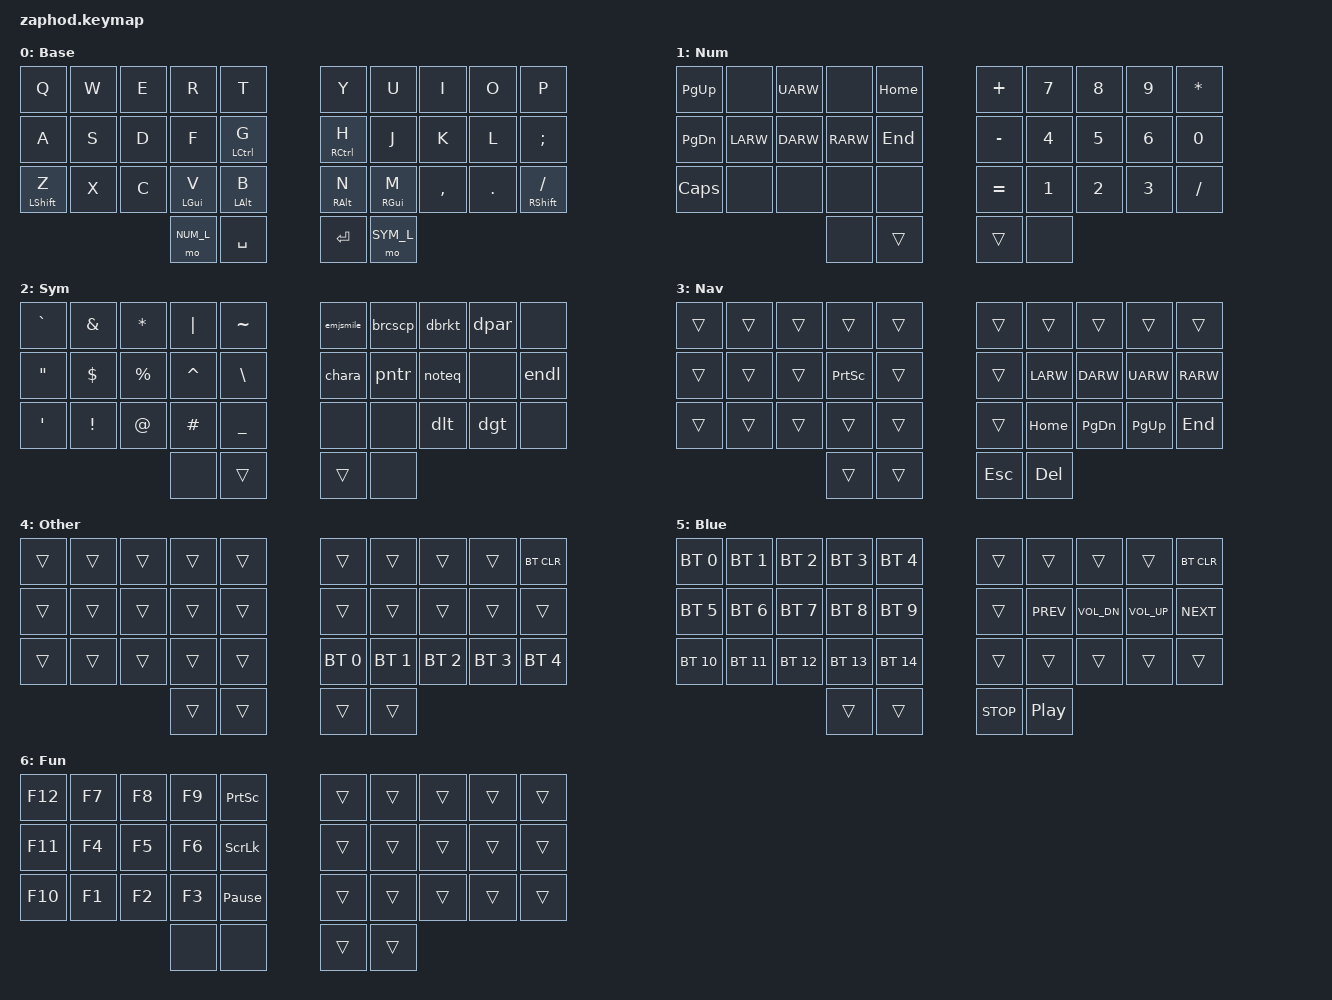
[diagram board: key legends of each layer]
/*
 * Copyright (c) 2021 Pete Johanson
 *
 * SPDX-License-Identifier: MIT
 */

#include <behaviors.dtsi>
#include <dt-bindings/zmk/keys.h>
#include <dt-bindings/zmk/bt.h>
#include <dt-bindings/zmk/outputs.h>

#define NUM_L 1
#define SYM_L 2
#define NAV_L 3
#define OTH_L 4
#define BLU_L 5
#define FUN_L 6

// Using layer taps on thumbs, having quick tap as well helps w/ repeating space/backspace
&lt { quick-tap-ms = <200>; };

/ {
    combos {
        compatible = "zmk,combos";

        med_mo {
            timeout-ms = <50>;
            key-positions = <32 33>;
            bindings = <&mo FUN_L>;
        };

        nav_mo {
            timeout-ms = <50>;
            key-positions = <30 31>;
            bindings = <&mo NAV_L>;
        };
        
        fn_mo {
            timeout-ms = <50>;
            key-positions = <30 33>;
            bindings = <&mo BLU_L>;
        };
        
        oth_mo {
            timeout-ms = <50>;
            key-positions = <31 32>;
            bindings = <&mo OTH_L>;
        };

        combo_esc {
            timeout-ms = <30>;
            key-positions = <13 16>;
            bindings = <&kp ESC>;
        };
        
        combo_bksp {
            timeout-ms = <30>;
            key-positions = <17 18>;
            bindings = <&kp BKSP>;
        };
        combo_tab {
            timeout-ms = <30>;
            key-positions = <11 12>;
            bindings = <&kp TAB>;
        };
        combo_lpar {
            timeout-ms = <30>;
            key-positions = <12 13>; // D, F
            bindings = <&kp LPAR>;
        };
        combo_rpar {
            timeout-ms = <30>;
            key-positions = <16 17>; // J, K
            bindings = <&kp RPAR>;
        };
        combo_lbkt {
            timeout-ms = <30>;
            key-positions = <11 13>; // S, F
            bindings = <&kp LBKT>;
        };
        combo_rbkt {
            timeout-ms = <30>;
            key-positions = <16 18>; // J, L
            bindings = <&kp RBKT>;
        };
        combo_sqt {
            timeout-ms = <30>;
            key-positions = <16 19>; // J, ;
            bindings = <&kp RBRC>;   // }
        };
        combo_grv {
            timeout-ms = <30>;
            key-positions = <10 13>; // A, F
            bindings = <&kp LBRC>;   // {
        };
        combo_mns {
            timeout-ms = <30>;
            key-positions = <6 7>; // U, I
            bindings = <&kp MINUS>;
        };
        combo_eql {
            timeout-ms = <30>;
            key-positions = <7 8>; // I, O
            bindings = <&kp EQUAL>;
        };

    };

    macros {
        pntr: pntr{
            compatible = "zmk,behavior-macro";
            #binding-cells = <0>;
            wait-ms = <10>;
            tap-ms = <10>;
            bindings
                = <&macro_tap &kp MINUS &kp GT >
                ;
        };
        noteq: noteq{
            compatible = "zmk,behavior-macro";
            #binding-cells = <0>;
            wait-ms = <10>;
            tap-ms = <10>;
            bindings
                = <&macro_tap &kp EXCL &kp EQUAL >
                ;
        };
        endl: endl{
            compatible = "zmk,behavior-macro";
            #binding-cells = <0>;
            wait-ms = <10>;
            tap-ms = <10>;
            bindings
                = <&macro_tap &kp LT &kp LT &kp SQT &kp BSLH &kp N &kp SQT &kp SEMI >
                ;
        };
        dgt: dgt{
            compatible = "zmk,behavior-macro";
            #binding-cells = <0>;
            wait-ms = <10>;
            tap-ms = <10>;
            bindings
                = <&macro_tap &kp GT &kp GT &kp SPACE >
                ;
        };
        dlt: dlt{
            compatible = "zmk,behavior-macro";
            #binding-cells = <0>;
            wait-ms = <10>;
            tap-ms = <10>;
            bindings
                = <&macro_tap &kp LT &kp LT &kp SPACE >
                ;
        };
        brcscp: brcscp{
            compatible = "zmk,behavior-macro";
            #binding-cells = <0>;
            wait-ms = <10>;
            tap-ms = <10>;
            bindings
                = <&macro_tap &kp LBRC &kp RBRC &kp LARW &kp ENTER>
                , <&macro_press &kp LALT &kp LSHIFT>
                , <&macro_tap &kp O>
                , <&macro_release &kp LALT &kp LSHIFT>
                ;
        };
        dbrkt: dbrkt{
            compatible = "zmk,behavior-macro";
            #binding-cells = <0>;
            wait-ms = <10>;
            tap-ms = <10>;
            bindings
                = <&macro_tap &kp LBKT &kp RBKT &kp LARW>
                ;
        };
        dpar: dpar{
            compatible = "zmk,behavior-macro";
            #binding-cells = <0>;
            wait-ms = <10>;
            tap-ms = <10>;
            bindings
                = <&macro_tap &kp LPAR &kp RPAR &kp LARW>
                ;
        };
        chara: chara{
            compatible = "zmk,behavior-macro";
            #binding-cells = <0>;
            wait-ms = <10>;
            tap-ms = <10>;
            bindings
                = <&macro_tap &kp SQT &kp A &kp SQT>
                ;
        };
        emjsmile: emjsmile{
            compatible = "zmk,behavior-macro";
            #binding-cells = <0>;
            wait-ms = <10>;
            tap-ms = <10>;
            bindings
                = <&macro_press &kp LCTRL>
                , <&macro_tap &kp V>
                , <&macro_release &kp LCTRL>
                , <&macro_tap &kp LS(U) &kp N1 &kp LS(F) &kp N6 &kp N0 &kp LS(A) &kp ESC>
                ;
        };
    };

    behaviors {
        hm: homerow_mods {
            compatible = "zmk,behavior-hold-tap";
            #binding-cells = <2>;
            //flavor = "tap-preferred";
            flavor = "balanced";
            tapping-term-ms = <150>;
            quick-tap-ms = <125>;
            require-prior-idle-ms = <125>;
            bindings = <&kp>, <&kp>;
        };
    };

    keymap {
        compatible = "zmk,keymap";

        default_layer {
            display-name = "Base";
            bindings = <
                &kp Q       &kp W  &kp E   &kp R       &kp T              &kp Y            &kp U       &kp I      &kp O      &kp P
                &kp A       &kp S  &kp D   &kp F       &hm LCTRL G        &hm RCTRL H      &kp J       &kp K      &kp L      &kp SEMI
                &hm LSHFT Z &kp X  &kp C   &hm LGUI V  &hm LALT B         &hm RALT N       &hm RGUI M  &kp COMMA  &kp DOT    &hm RSHFT FSLH
                                                  &mo NUM_L &kp SPACE     &kp RET  &mo SYM_L
            >;
        };

        num_layer {
            display-name = "Num";
            bindings = <
                    &kp PAGE_UP   &none      &kp   UARW &none      &kp   HOME       &kp PLUS  &kp N7 &kp N8 &kp N9 &kp STAR
                    &kp PAGE_DOWN   &kp   LARW &kp   DARW &kp   RARW &kp   END        &kp MINUS &kp N4 &kp N5 &kp N6 &kp N0
                    &kp CAPS    &none      &none      &none      &none            &kp EQUAL &kp N1 &kp N2 &kp N3 &kp  FSLH
                                                  &none    &trans                 &trans    &none
            >;
        };

        sym_layer {
            display-name = "Sym";
            bindings = <
                &kp GRAVE &kp AMPS &kp STAR  &kp PIPE  &kp TILDE       &emjsmile  &brcscp  &dbrkt   &dpar  &none
                &kp DQT   &kp DLLR &kp PRCNT &kp CARET &kp BSLH        &chara  &pntr    &noteq  &none  &endl
                &kp SQT   &kp EXCL &kp AT    &kp HASH  &kp UNDER       &none  &none    &dlt   &dgt  &none
                                               &none  &trans           &trans  &none
            >;
        };

        nav_layer {
            display-name = "Nav";
            bindings = <
                &trans     &trans     &trans      &trans          &trans       &trans           &trans         &trans      &trans     &trans
                &trans     &trans     &trans      &kp PSCRN       &trans       &trans           &kp LARW       &kp DARW    &kp UARW   &kp RARW
                &trans     &trans     &trans      &trans          &trans       &trans           &kp HOME       &kp PG_DN   &kp PG_UP  &kp END
                                                  &trans          &trans       &kp ESC          &kp DEL
            >;
        };

        other_layer {
            display-name = "Other";
            bindings = <
                &trans	   &trans     &trans      &trans          &trans       &trans           &trans         &trans       &trans       &bt BT_CLR
                &trans     &trans     &trans      &trans          &trans       &trans           &trans         &trans       &trans       &trans
                &trans     &trans     &trans      &trans          &trans       &bt BT_SEL 0     &bt BT_SEL 1   &bt BT_SEL 2 &bt BT_SEL 3 &bt BT_SEL 4
                                                  &trans          &trans       &trans           &trans
            >;
        };


        blue_layer {
            display-name = "Blue";
            bindings = <
                &bt BT_SEL 0 &bt BT_SEL 1 &bt BT_SEL 2 &bt BT_SEL 3 &bt BT_SEL 4           &trans     &trans     &trans       &trans       &bt BT_CLR
                &bt BT_SEL 5 &bt BT_SEL 6 &bt BT_SEL 7 &bt BT_SEL 8 &bt BT_SEL 9           &trans     &kp C_PREV &kp C_VOL_DN &kp C_VOL_UP &kp C_NEXT
                &bt BT_SEL 10 &bt BT_SEL 11 &bt BT_SEL 12 &bt BT_SEL 13 &bt BT_SEL 14      &trans     &trans     &trans       &trans       &trans
                                                  &trans          &trans       &kp C_STOP       &kp C_PLAY_PAUSE
            >;
        };

        fun_layer {
            display-name = "Fun";
            bindings = <
                &kp F12     &kp F7     &kp F8      &kp F9     &kp PSCRN         &trans          &trans         &trans      &trans     &trans
                &kp F11     &kp F4     &kp F5      &kp F6     &kp SLCK          &trans          &trans         &trans      &trans     &trans
                &kp F10     &kp F1     &kp F2      &kp F3     &kp PAUSE_BREAK   &trans          &trans         &trans      &trans     &trans
                                                   &none      &none             &trans          &trans
            >;
        };
    };
};
